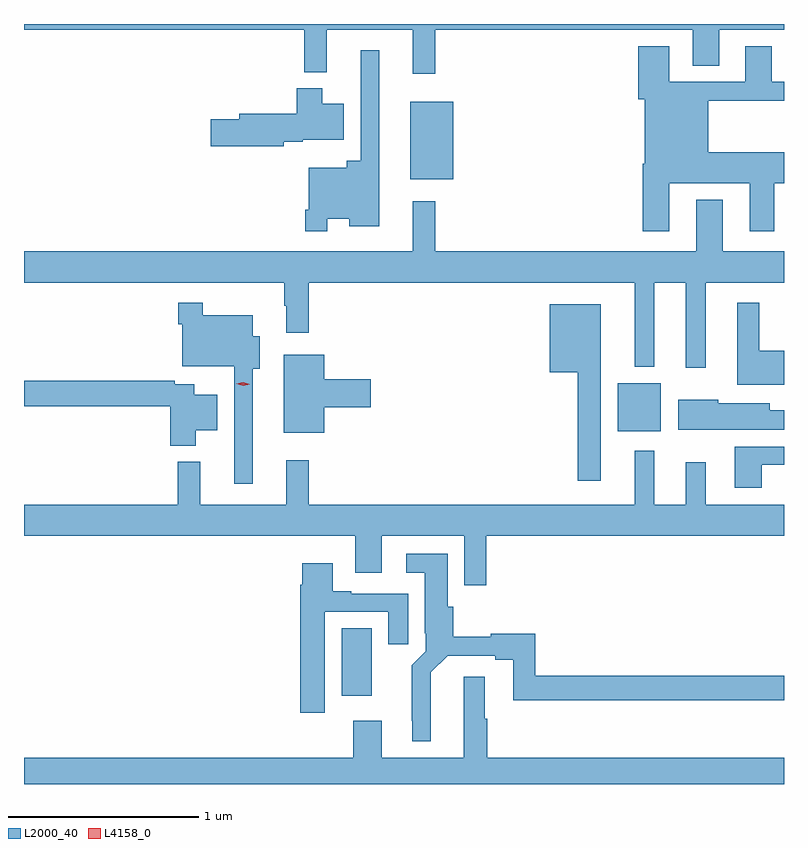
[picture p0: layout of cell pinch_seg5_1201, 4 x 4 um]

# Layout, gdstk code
import gdstk
lib = gdstk.Library(unit=1e-6, precision=1e-09)
def R(c, l, rs):  # rectangles x0, y0, x1, y1
    for r in rs: c.add(gdstk.rectangle(r[:2], r[2:], *l))
def P(c, l, *ps):  # polygons
    for p in ps: c.add(gdstk.Polygon(p, *l))
L2000_40 = (2000, 40)
L4158_0 = (4158, 0)

pinch_seg5_1201 = lib.new_cell('pinch_seg5_1201')
R(pinch_seg5_1201, L2000_40, [(445.079,879.894,445.237,880.25), (446.531,881.285,446.758,881.539), (445.439,882.611,445.666,883.021)])
P(pinch_seg5_1201, L2000_40, [(445.571,883.4),(446.927,883.4),(446.927,883.21),(447.067,883.21),(447.067,883.4),(447.407,883.4),(447.407,883.429),(443.407,883.429),(443.407,883.4),(444.883,883.4),(444.883,883.175),(445.001,883.175),(445.001,883.4),(445.454,883.4),(445.454,883.167),(445.571,883.167)],
  [(446.803,882.59),(447.227,882.59),(447.227,882.339),(447.355,882.339),(447.355,882.59),(447.407,882.59),(447.407,882.754),(447.007,882.754),(447.007,883.024),(447.407,883.024),(447.407,883.125),(447.343,883.125),(447.343,883.312),(447.203,883.312),(447.203,883.125),(446.803,883.125),(446.803,883.312),(446.639,883.312),(446.639,883.032),(446.675,883.032),(446.675,882.694),(446.663,882.694),(446.663,882.339),(446.803,882.339)],
  [(445.002,882.404),(445.118,882.404),(445.118,882.365),(445.276,882.365),(445.276,883.291),(445.179,883.291),(445.179,882.709),(445.106,882.709),(445.106,882.673),(444.906,882.673),(444.906,882.451),(444.886,882.451),(444.886,882.339),(445.002,882.339)],
  [(444.774,882.809),(444.874,882.809),(444.874,882.821),(445.09,882.821),(445.09,883.009),(444.976,883.009),(444.976,883.09),(444.842,883.09),(444.842,882.957),(444.539,882.957),(444.539,882.927),(444.39,882.927),(444.39,882.785),(444.774,882.785)],
  [(446.995,882.068),(447.407,882.068),(447.407,882.232),(447.085,882.232),(447.085,882.505),(446.945,882.505),(446.945,882.232),(445.571,882.232),(445.571,882.496),(445.454,882.496),(445.454,882.232),(443.407,882.232),(443.407,882.068),(444.777,882.068),(444.777,881.945),(444.788,881.945),(444.788,881.805),(444.905,881.805),(444.905,882.068),(446.621,882.068),(446.621,881.624),(446.725,881.624),(446.725,882.068),(446.891,882.068),(446.891,881.619),(446.995,881.619)],
  [(444.61,881.615),(444.649,881.615),(444.649,881.785),(444.61,881.785),(444.61,881.896),(444.349,881.896),(444.349,881.962),(444.22,881.962),(444.22,881.849),(444.24,881.849),(444.24,881.627),(444.513,881.627),(444.513,881.01),(444.61,881.01)],
  [(447.407,881.71),(447.277,881.71),(447.277,881.962),(447.161,881.962),(447.161,881.531),(447.407,881.531)],
  [(446.443,881.953),(446.174,881.953),(446.174,881.597),(446.322,881.597),(446.322,881.025),(446.443,881.025)],
  [(444.988,881.411),(445.231,881.411),(445.231,881.558),(444.988,881.558),(444.988,881.689),(444.773,881.689),(444.773,881.279),(444.988,881.279)],
  [(444.31,881.291),(444.424,881.291),(444.424,881.479),(444.304,881.479),(444.304,881.532),(444.2,881.532),(444.2,881.552),(443.407,881.552),(443.407,881.416),(444.176,881.416),(444.176,881.21),(444.31,881.21)],
  [(447.407,881.395),(447.331,881.395),(447.331,881.434),(447.06,881.434),(447.06,881.452),(446.85,881.452),(446.85,881.294),(447.407,881.294)],
  [(447.289,881.109),(447.407,881.109),(447.407,881.205),(447.149,881.205),(447.149,880.989),(447.289,880.989)],
  [(445.841,880.736),(447.407,880.736),(447.407,880.9),(446.995,880.9),(446.995,881.122),(446.891,881.122),(446.891,880.9),(446.725,880.9),(446.725,881.182),(446.621,881.182),(446.621,880.9),(444.905,880.9),(444.905,881.134),(444.788,881.134),(444.788,880.9),(444.335,880.9),(444.335,881.125),(444.217,881.125),(444.217,880.9),(443.407,880.9),(443.407,880.736),(445.151,880.736),(445.151,880.542),(445.291,880.542),(445.291,880.736),(445.725,880.736),(445.725,880.476),(445.841,880.476)],
  [(445.549,880.016),(445.636,880.104),(445.886,880.104),(445.886,880.084),(445.982,880.084),(445.982,879.87),(447.407,879.87),(447.407,879.998),(446.099,879.998),(446.099,880.22),(445.863,880.22),(445.863,880.205),(445.667,880.205),(445.667,880.362),(445.636,880.362),(445.636,880.642),(445.419,880.642),(445.419,880.541),(445.517,880.541),(445.517,880.222),(445.521,880.222),(445.521,880.128),(445.448,880.055),(445.448,879.763),(445.451,879.763),(445.451,879.653),(445.549,879.653)],
  [(444.991,880.335),(445.325,880.335),(445.325,880.164),(445.429,880.164),(445.429,880.431),(445.129,880.431),(445.129,880.444),(445.033,880.444),(445.033,880.591),(444.872,880.591),(444.872,880.478),(444.86,880.478),(444.86,879.804),(444.991,879.804)],
  [(447.407,879.568),(445.844,879.568),(445.844,879.773),(445.831,879.773),(445.831,879.994),(445.721,879.994),(445.721,879.568),(445.291,879.568),(445.291,879.763),(445.139,879.763),(445.139,879.568),(443.407,879.568),(443.407,879.429),(447.407,879.429)])
P(pinch_seg5_1201, L4158_0, [(444.56,881.524),(444.525,881.535),(444.524,881.536),(444.525,881.536),(444.56,881.544),(444.596,881.533),(444.596,881.533),(444.596,881.533)])

lib.write_gds('pinch_seg5_1201.gds')
